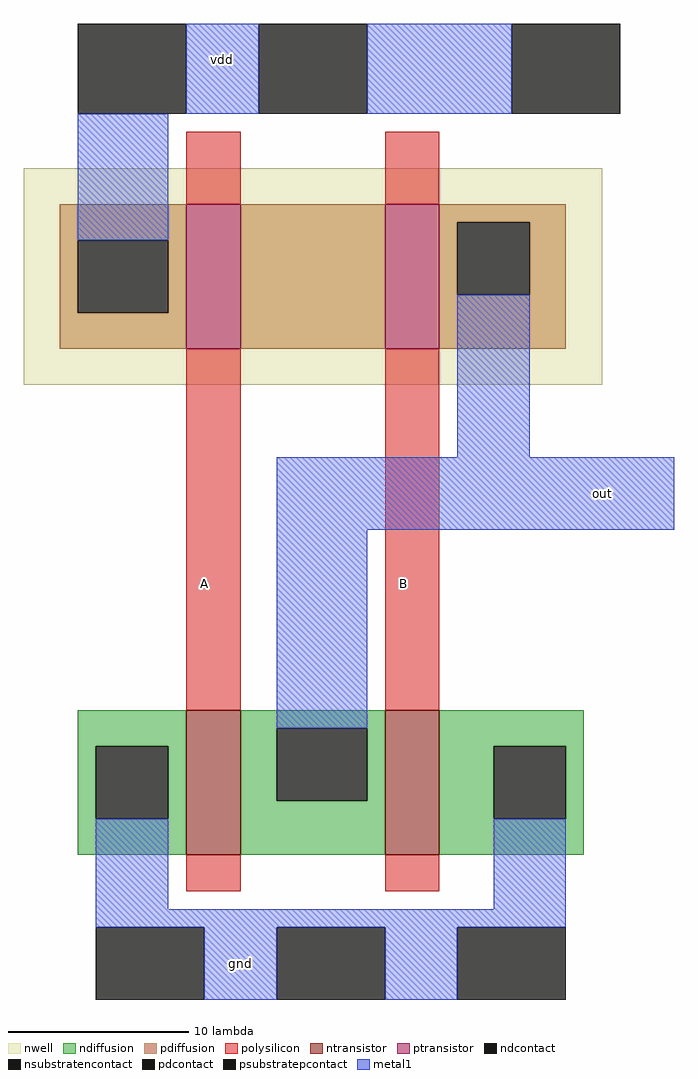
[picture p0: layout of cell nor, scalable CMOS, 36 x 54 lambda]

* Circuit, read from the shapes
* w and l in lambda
.subckt nor A B gnd out vdd
M1 out A gnd gnd nfet w=8 l=3
M2 gnd B out gnd nfet w=8 l=3
M3 n1 A vdd n2 pfet w=8 l=3
M4 out B n1 n2 pfet w=8 l=3
.ends

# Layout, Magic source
magic
tech scmos
<< nwell >>
rect -26 4 6 16
<< polysilicon >>
rect -17 14 -14 18
rect -6 14 -3 18
rect -17 -14 -14 6
rect -6 -14 -3 6
rect -17 -24 -14 -22
rect -6 -24 -3 -22
<< ndiffusion >>
rect -23 -16 -17 -14
rect -23 -20 -22 -16
rect -18 -20 -17 -16
rect -23 -22 -17 -20
rect -14 -15 -6 -14
rect -14 -19 -12 -15
rect -7 -19 -6 -15
rect -14 -22 -6 -19
rect -3 -16 5 -14
rect -3 -20 0 -16
rect 4 -20 5 -16
rect -3 -22 5 -20
<< pdiffusion >>
rect -24 12 -17 14
rect -24 8 -23 12
rect -18 8 -17 12
rect -24 6 -17 8
rect -14 6 -6 14
rect -3 13 4 14
rect -3 9 -2 13
rect 2 9 4 13
rect -3 6 4 9
<< metal1 >>
rect -17 19 -13 24
rect -7 19 1 24
rect -23 12 -18 19
rect -2 0 2 9
rect -12 -4 10 0
rect -12 -15 -7 -4
rect -22 -25 -18 -20
rect 0 -25 4 -20
rect -22 -26 4 -25
rect -16 -30 -12 -26
rect -6 -30 -2 -26
<< ntransistor >>
rect -17 -22 -14 -14
rect -6 -22 -3 -14
<< ptransistor >>
rect -17 6 -14 14
rect -6 6 -3 14
<< ndcontact >>
rect -22 -20 -18 -16
rect -12 -19 -7 -15
rect 0 -20 4 -16
<< pdcontact >>
rect -23 8 -18 12
rect -2 9 2 13
<< psubstratepcontact >>
rect -22 -30 -16 -26
rect -12 -30 -6 -26
rect -2 -30 4 -26
<< nsubstratencontact >>
rect -23 19 -17 24
rect -13 19 -7 24
rect 1 19 7 24
<< labels >>
rlabel polysilicon -16 -7 -16 -7 1 A
rlabel polysilicon -5 -7 -5 -7 1 B
rlabel metal1 6 -2 6 -2 7 out
rlabel metal1 -15 22 -15 22 5 vdd
rlabel metal1 -14 -28 -14 -28 1 gnd
<< end >>
